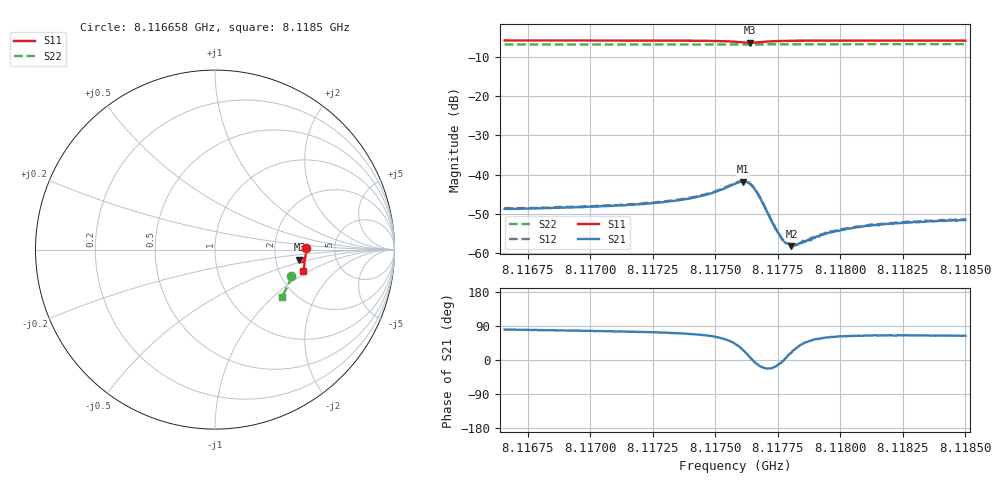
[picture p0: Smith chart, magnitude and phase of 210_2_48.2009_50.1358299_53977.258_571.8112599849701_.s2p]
#  HZ  S  RI  R  50.00
! Rohde & Schwarz Vector Network Analyzer
! Rohde-Schwarz,ZNB20-2Port,1311601062101988,3.16
! Created: UTC 3/20/2024, 11:45:30 AM
! freq[Hz]  re:S11  im:S11  re:S21  im:S21  re:S12  im:S12  re:S22  im:S22
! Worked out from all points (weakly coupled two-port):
!   401 points, 8.116658 GHz to 8.1185 GHz, reference 50 ohm
!   highest |S21| = -41.76 dB at 8.117611 GHz (marker M1); lowest = -58.2 dB at 8.117805 GHz (marker M2)
!   lowest |S11| = -6.5 dB at 8.117639 GHz (marker M3), VSWR 2.80, Z = 137 - j19.7 ohm
!   |S11| at or under -10 dB: nowhere
!   |S22| runs from -6.9 to -6.8 dB; largest |S21 - S12| = 0.00022
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8.1166575e9  0.5068 0.00922  0.000612 0.00362  0.000679 0.00366  0.4258 -0.1464
8.1169662e9  0.5061 -0.0147  0.000847 0.00375  0.000924 0.00384  0.419 -0.167
8.1171228e9  0.5052 -0.0271  0.00103 0.00394  0.00112 0.00401  0.4153 -0.177
8.1172748e9  0.5036 -0.0397  0.00133 0.00422  0.00137 0.0043  0.4113 -0.187
8.1173623e9  0.5021 -0.0477  0.00164 0.0045  0.0017 0.00455  0.4089 -0.1927
8.1174406e9  0.4996 -0.0557  0.0021 0.00488  0.00221 0.00494  0.4066 -0.1978
8.1175143e9  0.4944 -0.0642  0.00321 0.00537  0.0033 0.00547  0.4043 -0.2026
8.1175788e9  0.483 -0.0699  0.00559 0.0052  0.00579 0.00529  0.402 -0.2066
8.117611e9  0.4737 -0.0661  0.00732 0.00362  0.00752 0.00359  0.4008 -0.2081
8.1176387e9  0.4706 -0.0559  0.00755 0.000933  0.00769 0.000883  0.3999 -0.2093
8.1176525e9  0.4728 -0.0509  0.00683 -0.000262  0.00699 -0.000368  0.3996 -0.21
8.1176709e9  0.4783 -0.0468  0.00544 -0.00125  0.00558 -0.00134  0.3995 -0.211
8.1177308e9  0.493 -0.0508  0.00221 -0.000823  0.00228 -0.000833  0.3983 -0.215
8.1177631e9  0.4961 -0.0557  0.00158 -0.000212  0.00159 -0.000217  0.3974 -0.2171
8.1177815e9  0.4971 -0.0584  0.00134 0.000112  0.00136 0.000129  0.3969 -0.2184
8.1178045e9  0.498 -0.0614  0.00117 0.000398  0.00121 0.000442  0.3962 -0.2198
8.1178368e9  0.4986 -0.0653  0.00105 0.000825  0.00105 0.000819  0.3954 -0.222
8.1178874e9  0.4988 -0.0708  0.000929 0.00121  0.000976 0.00122  0.3936 -0.2252
8.1179519e9  0.4986 -0.0771  0.000927 0.00157  0.00093 0.00162  0.3915 -0.2293
8.1180302e9  0.4977 -0.0841  0.000928 0.00187  0.000932 0.00187  0.389 -0.2342
8.118196e9  0.4955 -0.0976  0.000999 0.00214  0.00105 0.00218  0.3833 -0.2444
8.1185001e9  0.4903 -0.1208  0.00117 0.00238  0.00122 0.0024  0.3721 -0.2625
